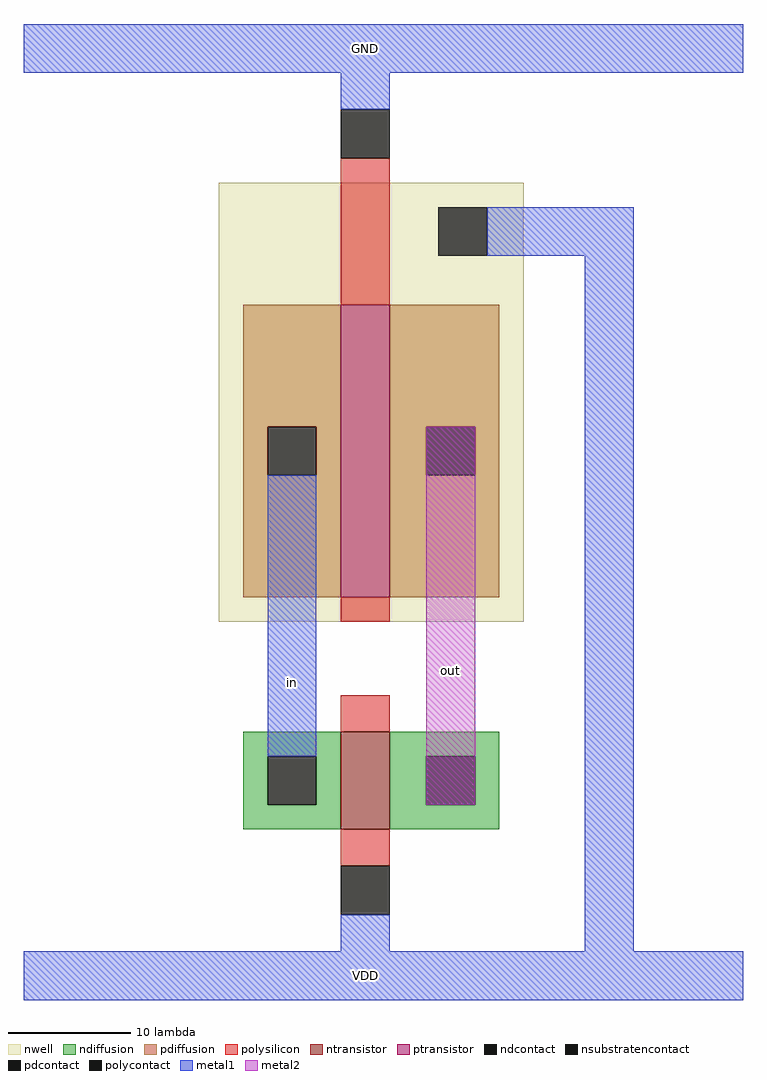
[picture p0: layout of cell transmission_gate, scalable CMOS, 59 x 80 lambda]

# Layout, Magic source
magic
tech scmos
<< nwell >>
rect -19 -5 6 31
<< polysilicon >>
rect -9 21 -5 33
rect -9 -5 -5 -3
rect -9 -14 -5 -11
rect -9 -25 -5 -22
<< ndiffusion >>
rect -17 -16 -9 -14
rect -17 -20 -15 -16
rect -11 -20 -9 -16
rect -17 -22 -9 -20
rect -5 -16 4 -14
rect -5 -20 -2 -16
rect 2 -20 4 -16
rect -5 -22 4 -20
<< pdiffusion >>
rect -17 11 -9 21
rect -17 7 -15 11
rect -11 7 -9 11
rect -17 -3 -9 7
rect -5 11 4 21
rect -5 7 -2 11
rect 2 7 4 11
rect -5 -3 4 7
<< metal1 >>
rect -35 40 24 44
rect -9 37 -5 40
rect 3 25 15 29
rect -15 -16 -11 7
rect -9 -32 -5 -29
rect 11 -32 15 25
rect -35 -36 24 -32
<< metal2 >>
rect -2 -20 2 11
<< ntransistor >>
rect -9 -22 -5 -14
<< ptransistor >>
rect -9 -3 -5 21
<< polycontact >>
rect -9 33 -5 37
rect -9 -29 -5 -25
<< ndcontact >>
rect -15 -20 -11 -16
rect -2 -20 2 -16
<< pdcontact >>
rect -15 7 -11 11
rect -2 7 2 11
<< nsubstratencontact >>
rect -1 25 3 29
<< labels >>
rlabel metal1 -7 -34 -7 -34 1 VDD
rlabel metal1 -13 -10 -13 -10 1 in
rlabel metal2 0 -9 0 -9 1 out
rlabel metal1 -7 42 -7 42 5 GND
<< end >>
